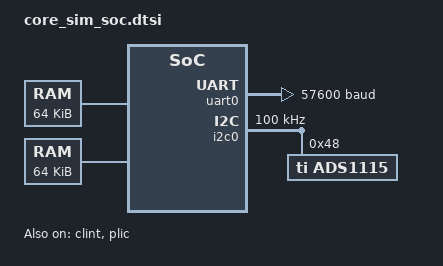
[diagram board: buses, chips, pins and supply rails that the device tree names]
/dts-v1/;

/ {
    #address-cells = <1>;
    #size-cells = <1>;

    cpus {
        #address-cells = <1>;
        #size-cells = <0>;

        CPU0: cpu@0 {
            device_type = "cpu";
            reg = <0>;
            compatible = "riscv";
            riscv,isa = "rv32im";
            status = "okay";

            CPU0_intc: interrupt-controller {
                compatible = "riscv,cpu-intc";
                #interrupt-cells = <1>;
                interrupt-controller;
            };
        };
    };

    flash0: memory@80000000 {
        compatible = "soc-nv-flash", "generic-mmap";
        device_type = "memory";
        reg = <0x80000000 0x00010000>;  /* 64 KB IMEM (ROM) */
    };

    sram0: memory@20000000 {
        device_type = "memory";
        reg = <0x20000000 0x00010000>;  /* 64 KB DMEM (RAM) */
    };

    chosen {
        zephyr,flash = &flash0;
        zephyr,sram  = &sram0;
        zephyr,console = &uart0;
        zephyr,shell-uart = &uart0;
        zephyr,timer = &clint;
    };

    soc {
        compatible = "simple-bus";
        #address-cells = <1>;
        #size-cells = <1>;
        ranges;

        clint: clint@60000000 {
            compatible = "sifive,clint0", "riscv,clint0";
            reg = <0x60000000 0x00010000>;
            interrupts-extended = <&CPU0_intc 3>, <&CPU0_intc 7>;
            status = "okay";
        };

        plic: interrupt-controller@50000000 {
            compatible = "sifive,plic-1.0.0";
            reg = <0x50000000 0x00400000>;
            #address-cells = <0>;
            #interrupt-cells = <2>;
            interrupt-controller;
            interrupts-extended = <&CPU0_intc 11>;
            riscv,ndev = <8>;
            riscv,max-priority = <7>;
            status = "okay";
        };

        uart0: serial@10000000 {
            compatible = "ns16550";
            reg = <0x10000000 0x100>;
            reg-shift = <0>;
            clock-frequency = <25000000>;
            current-speed = <57600>;
            interrupt-parent = <&plic>;
            interrupts = <5 1>;
            status = "okay";
        };

        i2c0: i2c@30000000 {
            compatible = "sifive,i2c0";
            reg = <0x30000000 0x100>;
            clock-frequency = <100000>; /* 100 kHz standard mode */
            interrupt-parent = <&plic>;
            interrupts = <6 1>; /* IRQ ID 6, priority 1 */
            #address-cells = <1>;
            #size-cells = <0>;
            status = "okay";

            /* The ADS1115 sits on this bus */
            ads1115: ads1115@48 {
                compatible = "ti,ads1115";
                reg = <0x48>;
                label = "ADS1115";
                #io-channel-cells = <1>;
            };
        };
    };
};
